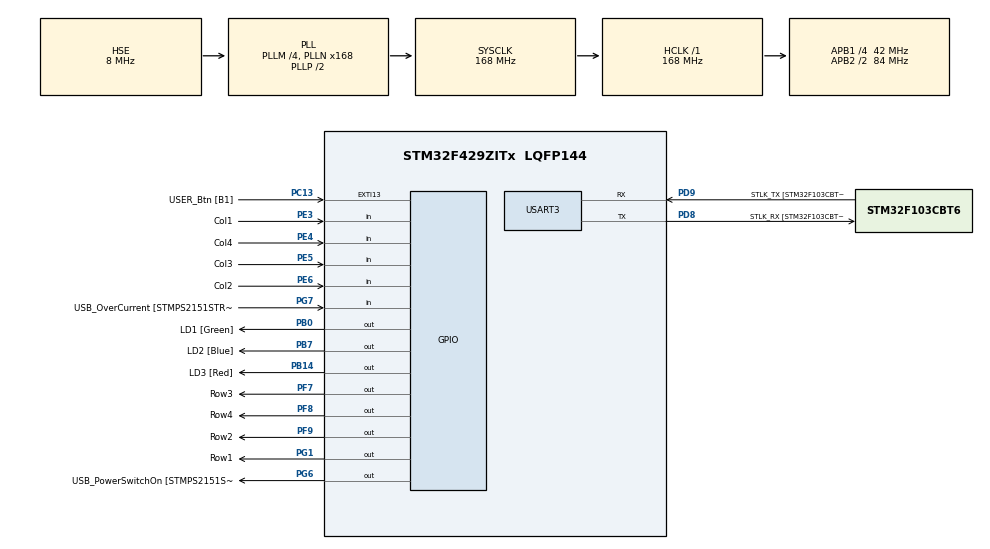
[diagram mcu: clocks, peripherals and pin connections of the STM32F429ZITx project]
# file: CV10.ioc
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Mcu.Family=STM32F4
Mcu.Name=STM32F429ZITx
Mcu.Package=LQFP144
NVIC.PriorityGroup=NVIC_PRIORITYGROUP_4
NVIC.TIM3_IRQn=true\:0\:0\:false\:false\:true\:true\:true\:true
PA1.GPIO_Label=RMII_REF_CLK [LAN8742A-CZ-TR_REFCLK0]
PA1.Signal=ETH_REF_CLK
PA10.GPIO_Label=USB_ID
PA10.Signal=USB_OTG_FS_ID
PA11.GPIO_Label=USB_DM
PA11.Signal=USB_OTG_FS_DM
PA12.GPIO_Label=USB_DP
PA12.Signal=USB_OTG_FS_DP
PA13.GPIO_Label=TMS
PA13.Mode=Serial_Wire
PA13.Signal=SYS_JTMS-SWDIO
PA14.GPIO_Label=TCK
PA14.Mode=Serial_Wire
PA14.Signal=SYS_JTCK-SWCLK
PA2.GPIO_Label=RMII_MDIO [LAN8742A-CZ-TR_MDIO]
PA2.Signal=ETH_MDIO
PA7.GPIO_Label=RMII_CRS_DV [LAN8742A-CZ-TR_CRS_DV]
PA7.Signal=ETH_CRS_DV
PA8.GPIO_Label=USB_SOF [TP1]
PA8.Signal=USB_OTG_FS_SOF
PA9.GPIO_Label=USB_VBUS
PA9.Signal=USB_OTG_FS_VBUS
PB0.GPIO_Label=LD1 [Green]
PB0.Signal=GPIO_Output
PB13.GPIO_Label=RMII_TXD1 [LAN8742A-CZ-TR_TXD1]
PB13.Signal=ETH_TXD1
PB14.GPIO_Label=LD3 [Red]
PB14.Signal=GPIO_Output
PB7.GPIO_Label=LD2 [Blue]
PB7.Signal=GPIO_Output
PC1.GPIO_Label=RMII_MDC [LAN8742A-CZ-TR_MDC]
PC1.Signal=ETH_MDC
PC13.GPIO_Label=USER_Btn [B1]
PC13.Signal=GPXTI13
PC14/OSC32_IN.Mode=LSE-External-Oscillator
PC14/OSC32_IN.Signal=RCC_OSC32_IN
PC15/OSC32_OUT.Mode=LSE-External-Oscillator
PC15/OSC32_OUT.Signal=RCC_OSC32_OUT
PC4.GPIO_Label=RMII_RXD0 [LAN8742A-CZ-TR_RXD0]
PC4.Signal=ETH_RXD0
PC5.GPIO_Label=RMII_RXD1 [LAN8742A-CZ-TR_RXD1]
PC5.Signal=ETH_RXD1
PD8.GPIO_Label=STLK_RX [STM32F103CBT6_PA3]
PD8.Mode=Asynchronous
PD8.Signal=USART3_TX
PD9.GPIO_Label=STLK_TX [STM32F103CBT6_PA2]
PD9.Mode=Asynchronous
PD9.Signal=USART3_RX
PE3.GPIO_Label=Col1
PE3.GPIO_PuPd=GPIO_PULLUP
PE3.Signal=GPIO_Input
PE4.GPIO_Label=Col4
PE4.GPIO_PuPd=GPIO_PULLUP
PE4.Signal=GPIO_Input
PE5.GPIO_Label=Col3
PE5.GPIO_PuPd=GPIO_PULLUP
PE5.Signal=GPIO_Input
PE6.GPIO_Label=Col2
PE6.GPIO_PuPd=GPIO_PULLUP
PE6.Signal=GPIO_Input
PF7.GPIO_Label=Row3
PF7.GPIO_ModeDefaultOutputPP=GPIO_MODE_OUTPUT_OD
PF7.GPIO_PuPd=GPIO_NOPULL
PF7.Signal=GPIO_Output
PF8.GPIO_Label=Row4
PF8.GPIO_ModeDefaultOutputPP=GPIO_MODE_OUTPUT_OD
PF8.GPIO_PuPd=GPIO_NOPULL
PF8.Signal=GPIO_Output
PF9.GPIO_Label=Row2
PF9.GPIO_ModeDefaultOutputPP=GPIO_MODE_OUTPUT_OD
PF9.GPIO_PuPd=GPIO_NOPULL
PF9.Signal=GPIO_Output
PG1.GPIO_Label=Row1
PG1.GPIO_ModeDefaultOutputPP=GPIO_MODE_OUTPUT_OD
PG1.GPIO_PuPd=GPIO_NOPULL
PG1.Signal=GPIO_Output
PG11.GPIO_Label=RMII_TX_EN [LAN8742A-CZ-TR_TXEN]
PG11.Signal=ETH_TX_EN
PG13.GPIO_Label=RMII_TXD0 [LAN8742A-CZ-TR_TXD0]
PG13.Signal=ETH_TXD0
PG6.GPIO_Label=USB_PowerSwitchOn [STMPS2151STR_EN]
PG6.Signal=GPIO_Output
PG7.GPIO_Label=USB_OverCurrent [STMPS2151STR_FAULT]
PG7.Signal=GPIO_Input
PH0/OSC_IN.GPIO_Label=MCO [STM32F103CBT6_PA8]
PH0/OSC_IN.Mode=HSE-External-Clock-Source
PH0/OSC_IN.Signal=RCC_OSC_IN
PH1/OSC_OUT.Mode=HSE-External-Clock-Source
PH1/OSC_OUT.Signal=RCC_OSC_OUT
ProjectManager.HeapSize=0x200
ProjectManager.StackSize=0x400
ProjectManager.TargetToolchain=STM32CubeIDE
RCC.48MHZClocksFreq_Value=48000000
RCC.AHBFreq_Value=168000000
RCC.APB1CLKDivider=RCC_HCLK_DIV4
RCC.APB1Freq_Value=42000000
RCC.APB1TimFreq_Value=84000000
RCC.APB2CLKDivider=RCC_HCLK_DIV2
RCC.APB2Freq_Value=84000000
RCC.APB2TimCLKDivider=2
RCC.APB2TimFreq_Value=168000000
RCC.CortexFreq_Value=168000000
RCC.HCLKFreq_Value=168000000
RCC.HSE_VALUE=8000000
RCC.HSI_VALUE=16000000
RCC.PLLM=4
RCC.PLLMUL=RCC_PLL_MUL9
RCC.PLLN=168
RCC.PLLQ=7
RCC.PLLSourceVirtual=RCC_PLLSOURCE_HSE
RCC.PRESCALERUSB=RCC_USBCLKSOURCE_PLL_DIV1_5
RCC.SYSCLKFreq_VALUE=168000000
RCC.SYSCLKSource=RCC_SYSCLKSOURCE_PLLCLK
RCC.SYSCLKSourceVirtual=RCC_SYSCLKSOURCE_PLLCLK
RCC.USBFreq_Value=48000000
RCC.VCOOutputFreq_Value=336000000
TIM3.AutoReloadPreload=TIM_AUTORELOAD_PRELOAD_ENABLE
TIM3.Period=99
TIM3.Prescaler=8399
USART3.VirtualMode=VM_ASYNC
VP_TIM3_VS_ClockSourceINT.Mode=Internal
board=NUCLEO-F429ZI

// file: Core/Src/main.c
/* USER CODE BEGIN Header */
/**
 ******************************************************************************
 * @file           : main.c
 * @brief          : Main program body
 ******************************************************************************
 * @attention
 *
 * Copyright (c) 2023 STMicroelectronics.
 * All rights reserved.
 *
 * This software is licensed under terms that can be found in the LICENSE file
 * in the root directory of this software component.
 * If no LICENSE file comes with this software, it is provided AS-IS.
 *
 ******************************************************************************
 */
/* USER CODE END Header */
#include "main.h"

/* USER CODE BEGIN Includes */
#include <stdio.h>
/* USER CODE END Includes */

/* USER CODE BEGIN PD */
int __io_putchar(int ch)
{
	ITM_SendChar(ch);
	return 0;
}

/* USER CODE END PD */

TIM_HandleTypeDef htim3;

UART_HandleTypeDef huart3;

/* USER CODE BEGIN PV */
static volatile int key ;
static volatile const uint32_t code[5]={ 7, 9, 3, 2, 12 };

/* USER CODE END PV */

void SystemClock_Config(void);
static void MX_GPIO_Init(void);
static void MX_USART3_UART_Init(void);
static void MX_TIM3_Init(void);

int main(void)
{

	/* MCU Configuration--------------------------------------------------------*/

	/* Reset of all peripherals, Initializes the Flash interface and the Systick. */
	HAL_Init();

	/* Configure the system clock */
	SystemClock_Config();

	/* Initialize all configured peripherals */
	MX_GPIO_Init();
	MX_USART3_UART_Init();
	MX_TIM3_Init();
	/* USER CODE BEGIN 2 */
	printf("start\n");
	HAL_TIM_Base_Start_IT(&htim3);

	uint32_t seq=0;
	/* USER CODE END 2 */

	/* Infinite loop */
	while (1)
	{

		/* USER CODE BEGIN 3 */

		if (key!=-1){

			printf("%d\n",key);

			HAL_Delay(500);
			key=-1;
		}

		/*
		HAL_GPIO_TogglePin(LD1_GPIO_Port, LD1_Pin);
		HAL_Delay(250);
		printf("tick\n");
		*/
	}
	/* USER CODE END 3 */
}

void SystemClock_Config(void)
{
	RCC_OscInitTypeDef RCC_OscInitStruct = {0};
	RCC_ClkInitTypeDef RCC_ClkInitStruct = {0};

	/** Configure the main internal regulator output voltage
	 */
	__HAL_RCC_PWR_CLK_ENABLE();
	__HAL_PWR_VOLTAGESCALING_CONFIG(PWR_REGULATOR_VOLTAGE_SCALE1);

	/** Initializes the RCC Oscillators according to the specified parameters
	 * in the RCC_OscInitTypeDef structure.
	 */
	RCC_OscInitStruct.OscillatorType = RCC_OSCILLATORTYPE_HSE;
	RCC_OscInitStruct.HSEState = RCC_HSE_BYPASS;
	RCC_OscInitStruct.PLL.PLLState = RCC_PLL_ON;
	RCC_OscInitStruct.PLL.PLLSource = RCC_PLLSOURCE_HSE;
	RCC_OscInitStruct.PLL.PLLM = 4;
	RCC_OscInitStruct.PLL.PLLN = 168;
	RCC_OscInitStruct.PLL.PLLP = RCC_PLLP_DIV2;
	RCC_OscInitStruct.PLL.PLLQ = 7;
	if (HAL_RCC_OscConfig(&RCC_OscInitStruct) != HAL_OK)
	{
		Error_Handler();
	}

	/** Initializes the CPU, AHB and APB buses clocks
	 */
	RCC_ClkInitStruct.ClockType = RCC_CLOCKTYPE_HCLK|RCC_CLOCKTYPE_SYSCLK
			|RCC_CLOCKTYPE_PCLK1|RCC_CLOCKTYPE_PCLK2;
	RCC_ClkInitStruct.SYSCLKSource = RCC_SYSCLKSOURCE_PLLCLK;
	RCC_ClkInitStruct.AHBCLKDivider = RCC_SYSCLK_DIV1;
	RCC_ClkInitStruct.APB1CLKDivider = RCC_HCLK_DIV4;
	RCC_ClkInitStruct.APB2CLKDivider = RCC_HCLK_DIV2;

	if (HAL_RCC_ClockConfig(&RCC_ClkInitStruct, FLASH_LATENCY_5) != HAL_OK)
	{
		Error_Handler();
	}
}

static void MX_TIM3_Init(void)
{

	TIM_ClockConfigTypeDef sClockSourceConfig = {0};
	TIM_MasterConfigTypeDef sMasterConfig = {0};

	htim3.Instance = TIM3;
	htim3.Init.Prescaler = 8399;
	htim3.Init.CounterMode = TIM_COUNTERMODE_UP;
	htim3.Init.Period = 99;
	htim3.Init.ClockDivision = TIM_CLOCKDIVISION_DIV1;
	htim3.Init.AutoReloadPreload = TIM_AUTORELOAD_PRELOAD_ENABLE;
	if (HAL_TIM_Base_Init(&htim3) != HAL_OK)
	{
		Error_Handler();
	}
	sClockSourceConfig.ClockSource = TIM_CLOCKSOURCE_INTERNAL;
	if (HAL_TIM_ConfigClockSource(&htim3, &sClockSourceConfig) != HAL_OK)
	{
		Error_Handler();
	}
	sMasterConfig.MasterOutputTrigger = TIM_TRGO_RESET;
	sMasterConfig.MasterSlaveMode = TIM_MASTERSLAVEMODE_DISABLE;
	if (HAL_TIMEx_MasterConfigSynchronization(&htim3, &sMasterConfig) != HAL_OK)
	{
		Error_Handler();
	}

}

static void MX_USART3_UART_Init(void)
{

	huart3.Instance = USART3;
	huart3.Init.BaudRate = 115200;
	huart3.Init.WordLength = UART_WORDLENGTH_8B;
	huart3.Init.StopBits = UART_STOPBITS_1;
	huart3.Init.Parity = UART_PARITY_NONE;
	huart3.Init.Mode = UART_MODE_TX_RX;
	huart3.Init.HwFlowCtl = UART_HWCONTROL_NONE;
	huart3.Init.OverSampling = UART_OVERSAMPLING_16;
	if (HAL_UART_Init(&huart3) != HAL_OK)
	{
		Error_Handler();
	}

}

static void MX_GPIO_Init(void)
{
	GPIO_InitTypeDef GPIO_InitStruct = {0};

	/* GPIO Ports Clock Enable */
	__HAL_RCC_GPIOE_CLK_ENABLE();
	__HAL_RCC_GPIOC_CLK_ENABLE();
	__HAL_RCC_GPIOF_CLK_ENABLE();
	__HAL_RCC_GPIOH_CLK_ENABLE();
	__HAL_RCC_GPIOA_CLK_ENABLE();
	__HAL_RCC_GPIOB_CLK_ENABLE();
	__HAL_RCC_GPIOG_CLK_ENABLE();
	__HAL_RCC_GPIOD_CLK_ENABLE();

	/*Configure GPIO pin Output Level */
	HAL_GPIO_WritePin(GPIOF, Row3_Pin|Row4_Pin|Row2_Pin, GPIO_PIN_RESET);

	/*Configure GPIO pin Output Level */
	HAL_GPIO_WritePin(GPIOB, LD1_Pin|LD3_Pin|LD2_Pin, GPIO_PIN_RESET);

	/*Configure GPIO pin Output Level */
	HAL_GPIO_WritePin(GPIOG, Row1_Pin|USB_PowerSwitchOn_Pin, GPIO_PIN_RESET);

	/*Configure GPIO pins : Col1_Pin Col4_Pin Col3_Pin Col2_Pin */
	GPIO_InitStruct.Pin = Col1_Pin|Col4_Pin|Col3_Pin|Col2_Pin;
	GPIO_InitStruct.Mode = GPIO_MODE_INPUT;
	GPIO_InitStruct.Pull = GPIO_PULLUP;
	HAL_GPIO_Init(GPIOE, &GPIO_InitStruct);

	/*Configure GPIO pin : USER_Btn_Pin */
	GPIO_InitStruct.Pin = USER_Btn_Pin;
	GPIO_InitStruct.Mode = GPIO_MODE_IT_RISING;
	GPIO_InitStruct.Pull = GPIO_NOPULL;
	HAL_GPIO_Init(USER_Btn_GPIO_Port, &GPIO_InitStruct);

	/*Configure GPIO pins : Row3_Pin Row4_Pin Row2_Pin */
	GPIO_InitStruct.Pin = Row3_Pin|Row4_Pin|Row2_Pin;
	GPIO_InitStruct.Mode = GPIO_MODE_OUTPUT_OD;
	GPIO_InitStruct.Pull = GPIO_NOPULL;
	GPIO_InitStruct.Speed = GPIO_SPEED_FREQ_LOW;
	HAL_GPIO_Init(GPIOF, &GPIO_InitStruct);

	/*Configure GPIO pins : RMII_MDC_Pin RMII_RXD0_Pin RMII_RXD1_Pin */
	GPIO_InitStruct.Pin = RMII_MDC_Pin|RMII_RXD0_Pin|RMII_RXD1_Pin;
	GPIO_InitStruct.Mode = GPIO_MODE_AF_PP;
	GPIO_InitStruct.Pull = GPIO_NOPULL;
	GPIO_InitStruct.Speed = GPIO_SPEED_FREQ_VERY_HIGH;
	GPIO_InitStruct.Alternate = GPIO_AF11_ETH;
	HAL_GPIO_Init(GPIOC, &GPIO_InitStruct);

	/*Configure GPIO pins : RMII_REF_CLK_Pin RMII_MDIO_Pin RMII_CRS_DV_Pin */
	GPIO_InitStruct.Pin = RMII_REF_CLK_Pin|RMII_MDIO_Pin|RMII_CRS_DV_Pin;
	GPIO_InitStruct.Mode = GPIO_MODE_AF_PP;
	GPIO_InitStruct.Pull = GPIO_NOPULL;
	GPIO_InitStruct.Speed = GPIO_SPEED_FREQ_VERY_HIGH;
	GPIO_InitStruct.Alternate = GPIO_AF11_ETH;
	HAL_GPIO_Init(GPIOA, &GPIO_InitStruct);

	/*Configure GPIO pins : LD1_Pin LD3_Pin LD2_Pin */
	GPIO_InitStruct.Pin = LD1_Pin|LD3_Pin|LD2_Pin;
	GPIO_InitStruct.Mode = GPIO_MODE_OUTPUT_PP;
	GPIO_InitStruct.Pull = GPIO_NOPULL;
	GPIO_InitStruct.Speed = GPIO_SPEED_FREQ_LOW;
	HAL_GPIO_Init(GPIOB, &GPIO_InitStruct);

	/*Configure GPIO pin : Row1_Pin */
	GPIO_InitStruct.Pin = Row1_Pin;
	GPIO_InitStruct.Mode = GPIO_MODE_OUTPUT_OD;
	GPIO_InitStruct.Pull = GPIO_NOPULL;
	GPIO_InitStruct.Speed = GPIO_SPEED_FREQ_LOW;
	HAL_GPIO_Init(Row1_GPIO_Port, &GPIO_InitStruct);

	/*Configure GPIO pin : RMII_TXD1_Pin */
	GPIO_InitStruct.Pin = RMII_TXD1_Pin;
	GPIO_InitStruct.Mode = GPIO_MODE_AF_PP;
	GPIO_InitStruct.Pull = GPIO_NOPULL;
	GPIO_InitStruct.Speed = GPIO_SPEED_FREQ_VERY_HIGH;
	GPIO_InitStruct.Alternate = GPIO_AF11_ETH;
	HAL_GPIO_Init(RMII_TXD1_GPIO_Port, &GPIO_InitStruct);

	/*Configure GPIO pin : USB_PowerSwitchOn_Pin */
	GPIO_InitStruct.Pin = USB_PowerSwitchOn_Pin;
	GPIO_InitStruct.Mode = GPIO_MODE_OUTPUT_PP;
	GPIO_InitStruct.Pull = GPIO_NOPULL;
	GPIO_InitStruct.Speed = GPIO_SPEED_FREQ_LOW;
	HAL_GPIO_Init(USB_PowerSwitchOn_GPIO_Port, &GPIO_InitStruct);

	/*Configure GPIO pin : USB_OverCurrent_Pin */
	GPIO_InitStruct.Pin = USB_OverCurrent_Pin;
	GPIO_InitStruct.Mode = GPIO_MODE_INPUT;
	GPIO_InitStruct.Pull = GPIO_NOPULL;
	HAL_GPIO_Init(USB_OverCurrent_GPIO_Port, &GPIO_InitStruct);

	/*Configure GPIO pins : USB_SOF_Pin USB_ID_Pin USB_DM_Pin USB_DP_Pin */
	GPIO_InitStruct.Pin = USB_SOF_Pin|USB_ID_Pin|USB_DM_Pin|USB_DP_Pin;
	GPIO_InitStruct.Mode = GPIO_MODE_AF_PP;
	GPIO_InitStruct.Pull = GPIO_NOPULL;
	GPIO_InitStruct.Speed = GPIO_SPEED_FREQ_VERY_HIGH;
	GPIO_InitStruct.Alternate = GPIO_AF10_OTG_FS;
	HAL_GPIO_Init(GPIOA, &GPIO_InitStruct);

	/*Configure GPIO pin : USB_VBUS_Pin */
	GPIO_InitStruct.Pin = USB_VBUS_Pin;
	GPIO_InitStruct.Mode = GPIO_MODE_INPUT;
	GPIO_InitStruct.Pull = GPIO_NOPULL;
	HAL_GPIO_Init(USB_VBUS_GPIO_Port, &GPIO_InitStruct);

	/*Configure GPIO pins : RMII_TX_EN_Pin RMII_TXD0_Pin */
	GPIO_InitStruct.Pin = RMII_TX_EN_Pin|RMII_TXD0_Pin;
	GPIO_InitStruct.Mode = GPIO_MODE_AF_PP;
	GPIO_InitStruct.Pull = GPIO_NOPULL;
	GPIO_InitStruct.Speed = GPIO_SPEED_FREQ_VERY_HIGH;
	GPIO_InitStruct.Alternate = GPIO_AF11_ETH;
	HAL_GPIO_Init(GPIOG, &GPIO_InitStruct);

}

/* USER CODE BEGIN 4 */
void HAL_TIM_PeriodElapsedCallback(TIM_HandleTypeDef *htim)
{
	static int row = 0;
	static const int keyboard[4][4] = {
			{ 1, 2, 3, 21 },
			{ 4, 5, 6, 22 },
			{ 7, 8, 9, 23 },
			{ 11, 0, 12, 24 },
	};
	if (key == -1) {
		if (HAL_GPIO_ReadPin(Col1_GPIO_Port, Col1_Pin) == GPIO_PIN_RESET) key = keyboard[row][0];
		if (HAL_GPIO_ReadPin(Col2_GPIO_Port, Col2_Pin) == GPIO_PIN_RESET) key = keyboard[row][1];
		if (HAL_GPIO_ReadPin(Col3_GPIO_Port, Col3_Pin) == GPIO_PIN_RESET) key = keyboard[row][2];
		if (HAL_GPIO_ReadPin(Col4_GPIO_Port, Col4_Pin) == GPIO_PIN_RESET) key = keyboard[row][3];

	}
	HAL_GPIO_WritePin(Row1_GPIO_Port, Row1_Pin, GPIO_PIN_SET);
	HAL_GPIO_WritePin(Row2_GPIO_Port, Row2_Pin, GPIO_PIN_SET);
	HAL_GPIO_WritePin(Row3_GPIO_Port, Row3_Pin, GPIO_PIN_SET);
	HAL_GPIO_WritePin(Row4_GPIO_Port, Row4_Pin, GPIO_PIN_SET);
	switch (row) {
	case 0: row = 1; HAL_GPIO_WritePin(Row2_GPIO_Port, Row2_Pin, GPIO_PIN_RESET); break;
	case 1: row = 2; HAL_GPIO_WritePin(Row3_GPIO_Port, Row3_Pin, GPIO_PIN_RESET); break;
	case 2: row = 3; HAL_GPIO_WritePin(Row4_GPIO_Port, Row4_Pin, GPIO_PIN_RESET); break;
	case 3: row = 0; HAL_GPIO_WritePin(Row1_GPIO_Port, Row1_Pin, GPIO_PIN_RESET); break;
	}
}

/* USER CODE END 4 */

void Error_Handler(void)
{
	__disable_irq();
	while (1)
	{
	}
}
